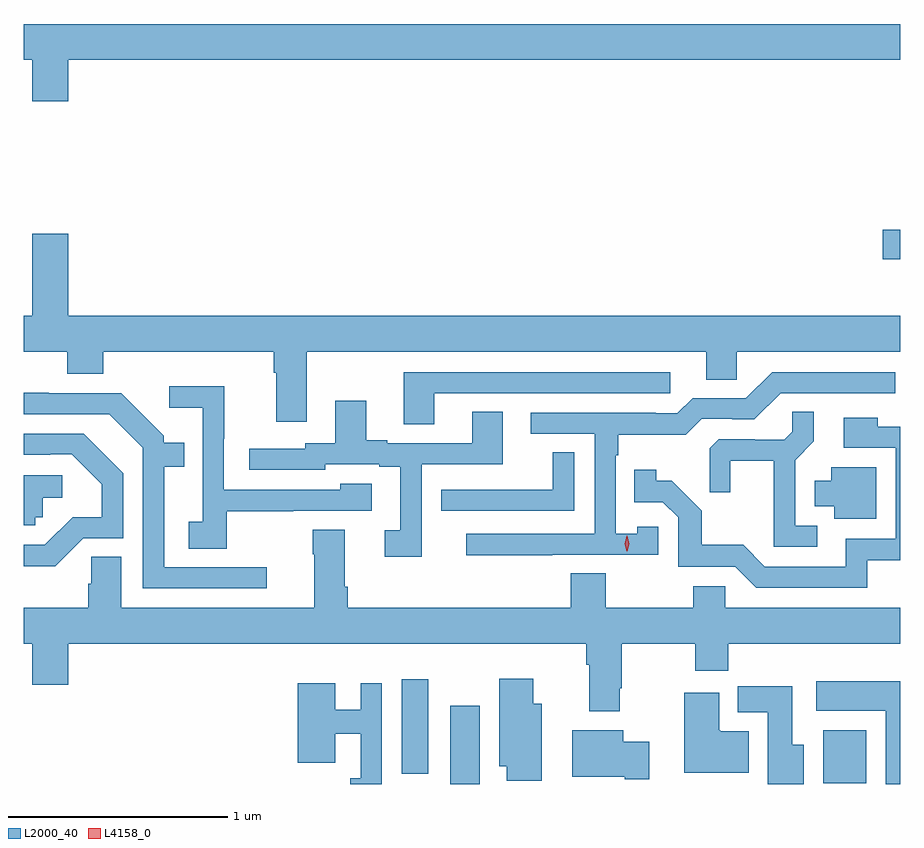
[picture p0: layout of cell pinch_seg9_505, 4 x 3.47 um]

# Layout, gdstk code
import gdstk
lib = gdstk.Library(unit=1e-6, precision=1e-09)
def R(c, l, rs):  # rectangles x0, y0, x1, y1
    for r in rs: c.add(gdstk.rectangle(r[:2], r[2:], *l))
def P(c, l, *ps):  # polygons
    for p in ps: c.add(gdstk.Polygon(p, *l))
L2000_40 = (2000, 40)
L4158_0 = (4158, 0)

pinch_seg9_505 = lib.new_cell('pinch_seg9_505')
R(pinch_seg9_505, L2000_40, [(382.7,1191.784,382.834,1192.141), (384.401,1191.788,384.598,1192.03), (382.478,1191.831,382.6,1192.261), (384.672,1194.179,384.753,1194.314)])
P(pinch_seg9_505, L2000_40, [(380.956,1195.088),(384.753,1195.088),(384.753,1195.252),(380.753,1195.252),(380.753,1195.088),(380.792,1195.088),(380.792,1194.9),(380.956,1194.9)],
  [(382.045,1193.756),(383.867,1193.756),(383.867,1193.629),(384.006,1193.629),(384.006,1193.756),(384.753,1193.756),(384.753,1193.92),(380.956,1193.92),(380.956,1194.295),(380.792,1194.295),(380.792,1193.92),(380.753,1193.92),(380.753,1193.756),(380.951,1193.756),(380.951,1193.657),(381.116,1193.657),(381.116,1193.756),(381.893,1193.756),(381.893,1193.66),(381.905,1193.66),(381.905,1193.436),(382.045,1193.436)],
  [(383.165,1192.83),(383.649,1192.83),(383.649,1192.959),(383.553,1192.959),(383.553,1192.927),(383.454,1192.927),(383.454,1193.285),(383.467,1193.285),(383.467,1193.378),(383.774,1193.378),(383.847,1193.451),(383.986,1193.451),(383.986,1193.448),(384.087,1193.448),(384.207,1193.568),(384.73,1193.568),(384.73,1193.664),(384.168,1193.664),(384.048,1193.544),(383.805,1193.544),(383.736,1193.475),(383.636,1193.475),(383.636,1193.478),(383.067,1193.478),(383.067,1193.382),(383.358,1193.382),(383.358,1192.926),(382.773,1192.926),(382.773,1192.828),(383.165,1192.828)],
  [(382.627,1193.568),(383.704,1193.568),(383.704,1193.664),(382.487,1193.664),(382.487,1193.425),(382.627,1193.425)],
  [(381.679,1193.029),(381.983,1193.029),(381.983,1193.031),(382.342,1193.031),(382.342,1193.155),(382.197,1193.155),(382.197,1193.127),(381.666,1193.127),(381.666,1193.36),(381.669,1193.36),(381.669,1193.599),(381.417,1193.599),(381.417,1193.501),(381.57,1193.501),(381.57,1192.98),(381.507,1192.98),(381.507,1192.858),(381.679,1192.858)],
  [(381.862,1192.773),(381.394,1192.773),(381.394,1193.232),(381.485,1193.232),(381.485,1193.341),(381.393,1193.341),(381.393,1193.373),(381.198,1193.568),(380.867,1193.568),(380.867,1193.57),(380.753,1193.57),(380.753,1193.472),(381.144,1193.472),(381.297,1193.319),(381.297,1192.677),(381.862,1192.677)],
  [(382.569,1193.244),(382.939,1193.244),(382.939,1193.483),(382.799,1193.483),(382.799,1193.34),(382.411,1193.34),(382.411,1193.353),(382.315,1193.353),(382.315,1193.533),(382.175,1193.533),(382.175,1193.34),(382.038,1193.34),(382.038,1193.313),(381.783,1193.313),(381.783,1193.217),(382.128,1193.217),(382.128,1193.244),(382.376,1193.244),(382.376,1193.232),(382.472,1193.232),(382.472,1192.941),(382.401,1192.941),(382.401,1192.821),(382.569,1192.821)],
  [(384.373,1192.962),(384.273,1192.962),(384.273,1193.261),(384.359,1193.347),(384.359,1193.483),(384.261,1193.483),(384.261,1193.392),(384.224,1193.355),(384.09,1193.355),(384.09,1193.358),(383.925,1193.358),(383.884,1193.317),(383.884,1193.115),(383.978,1193.115),(383.978,1193.258),(384.176,1193.258),(384.176,1192.866),(384.373,1192.866)],
  [(384.602,1192.806),(384.753,1192.806),(384.753,1193.415),(384.651,1193.415),(384.651,1193.455),(384.495,1193.455),(384.495,1193.319),(384.732,1193.319),(384.732,1192.902),(384.503,1192.902),(384.503,1192.776),(384.135,1192.776),(384.037,1192.875),(383.848,1192.875),(383.848,1193.03),(383.71,1193.168),(383.64,1193.168),(383.64,1193.218),(383.539,1193.218),(383.539,1193.07),(383.67,1193.07),(383.739,1193.001),(383.739,1192.776),(384,1192.776),(384.096,1192.68),(384.602,1192.68)],
  [(381.024,1192.905),(381.207,1192.905),(381.207,1193.203),(381.028,1193.382),(380.753,1193.382),(380.753,1193.286),(380.873,1193.286),(380.873,1193.289),(380.973,1193.289),(381.11,1193.152),(381.11,1193.002),(380.977,1193.002),(380.85,1192.875),(380.753,1192.875),(380.753,1192.778),(380.896,1192.778)],
  [(383.265,1193.297),(383.167,1193.297),(383.167,1193.127),(382.771,1193.127),(382.771,1193.126),(382.659,1193.126),(382.659,1193.031),(383.265,1193.031)],
  [(384.643,1193.23),(384.437,1193.23),(384.437,1193.167),(384.362,1193.167),(384.362,1193.051),(384.452,1193.051),(384.452,1192.994),(384.643,1192.994)],
  [(380.805,1193.001),(380.841,1193.001),(380.841,1193.09),(380.929,1193.09),(380.929,1193.193),(380.753,1193.193),(380.753,1192.965),(380.805,1192.965)],
  [(383.473,1192.222),(383.481,1192.222),(383.481,1192.424),(383.818,1192.424),(383.818,1192.3),(383.969,1192.3),(383.969,1192.424),(384.753,1192.424),(384.753,1192.588),(383.955,1192.588),(383.955,1192.686),(383.809,1192.686),(383.809,1192.588),(383.409,1192.588),(383.409,1192.745),(383.249,1192.745),(383.249,1192.588),(382.232,1192.588),(382.232,1192.684),(382.219,1192.684),(382.219,1192.945),(382.072,1192.945),(382.072,1192.832),(382.079,1192.832),(382.079,1192.588),(381.199,1192.588),(381.199,1192.82),(381.061,1192.82),(381.061,1192.698),(381.047,1192.698),(381.047,1192.588),(380.753,1192.588),(380.753,1192.424),(380.792,1192.424),(380.792,1192.236),(380.956,1192.236),(380.956,1192.424),(383.321,1192.424),(383.321,1192.328),(383.333,1192.328),(383.333,1192.115),(383.473,1192.115)],
  [(383.116,1192.15),(383.077,1192.15),(383.077,1192.264),(382.922,1192.264),(382.922,1191.866),(382.958,1191.866),(382.958,1191.798),(383.116,1191.798)],
  [(384.753,1192.252),(384.369,1192.252),(384.369,1192.118),(384.686,1192.118),(384.686,1191.784),(384.753,1191.784)],
  [(382.386,1192.243),(382.29,1192.243),(382.29,1192.123),(382.174,1192.123),(382.174,1192.243),(382.004,1192.243),(382.004,1191.882),(382.174,1191.882),(382.174,1192.013),(382.29,1192.013),(382.29,1191.811),(382.244,1191.811),(382.244,1191.784),(382.386,1191.784)],
  [(384.313,1191.964),(384.259,1191.964),(384.259,1192.23),(384.011,1192.23),(384.011,1192.112),(384.149,1192.112),(384.149,1191.784),(384.313,1191.784)],
  [(384.061,1192.024),(383.932,1192.024),(383.932,1192.03),(383.926,1192.03),(383.926,1192.201),(383.768,1192.201),(383.768,1191.836),(384.061,1191.836)],
  [(383.608,1191.976),(383.488,1191.976),(383.488,1192.03),(383.255,1192.03),(383.255,1191.818),(383.495,1191.818),(383.495,1191.806),(383.608,1191.806)])
P(pinch_seg9_505, L4158_0, [(383.505,1192.845),(383.496,1192.881),(383.505,1192.917),(383.506,1192.917),(383.506,1192.917),(383.516,1192.881),(383.506,1192.845),(383.506,1192.845)])

lib.write_gds('pinch_seg9_505.gds')
